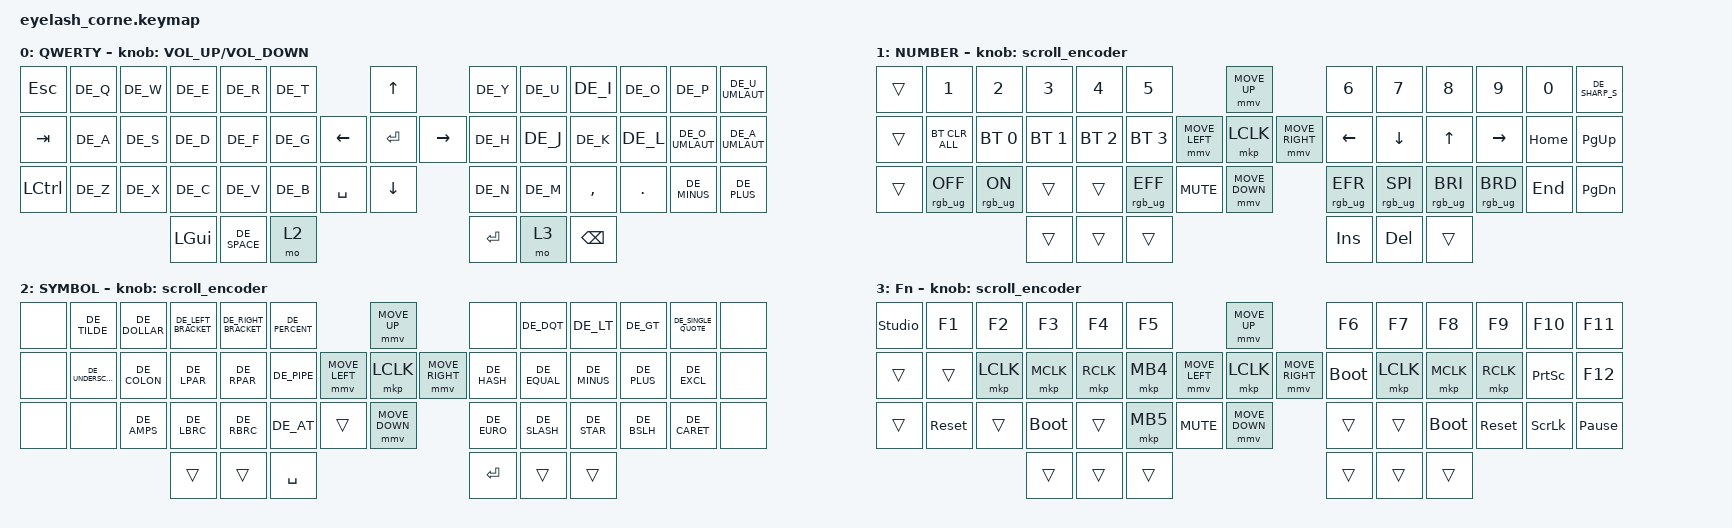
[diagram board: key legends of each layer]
#define ZMK_POINTING_DEFAULT_MOVE_VAL 1200  // 600
#define ZMK_POINTING_DEFAULT_SCRL_VAL 25   // 10

#include <input/processors.dtsi>
#include <zephyr/dt-bindings/input/input-event-codes.h>
#include <behaviors.dtsi>
#include <dt-bindings/zmk/bt.h>
#include <dt-bindings/zmk/keys.h>
#include <dt-bindings/zmk/outputs.h>
#include <dt-bindings/zmk/pointing.h>
#include <dt-bindings/zmk/rgb.h>
#include "keys_de.h"

&mmv_input_listener { input-processors = <&zip_xy_scaler 2 1>; };

&msc_input_listener { input-processors = <&zip_scroll_scaler 2 1>; };

&msc {
    acceleration-exponent = <1>;      // 0
    time-to-max-speed-ms = <100>;       // 300
    delay-ms = <0>;                   // 0
};

&mmv {
    time-to-max-speed-ms = <500>;
    acceleration-exponent = <1>;
    trigger-period-ms = <16>;
};

&soft_off { hold-time-ms = <2000>; };

/ {
    behaviors {
        td0: td0 {
            compatible = "zmk,behavior-tap-dance";
            display-name = "Shift/Caps Lock Tap Dance";
            #binding-cells = <0>;
            bindings = <&kp LEFT_SHIFT>, <&kp CAPS>;
        };
    };

    rgb_encoder: rgb_encoder {
        compatible = "zmk,behavior-sensor-rotate";
        #sensor-binding-cells = <0>;
        bindings = <&rgb_ug RGB_BRI>, <&rgb_ug RGB_BRD>;
    };

    scroll_encoder: scroll_encoder {
        compatible = "zmk,behavior-sensor-rotate";
        #sensor-binding-cells = <0>;
        bindings = <&msc SCRL_DOWN>, <&msc SCRL_UP>;

        tap-ms = <100>;
    };

    combos {
        compatible = "zmk,combos";

        softoff {
            bindings = <&soft_off>;
            key-positions = <1 15 29>;
        };
    };

    keymap {
        compatible = "zmk,keymap";

        default_layer {
            display-name = "QWERTY";
            bindings = <
&kp ESC         &kp DE_Q    &kp DE_W    &kp DE_E     &kp DE_R   &kp DE_T                      &kp UP                        &kp DE_Y     &kp DE_U    &kp DE_I      &kp DE_O    &kp DE_P             &kp DE_U_UMLAUT
&kp TAB         &kp DE_A    &kp DE_S    &kp DE_D     &kp DE_F   &kp DE_G            &kp LEFT  &kp ENTER  &kp RIGHT          &kp DE_H     &kp DE_J    &kp DE_K      &kp DE_L    &kp DE_O_UMLAUT      &kp DE_A_UMLAUT
&kp LCTRL       &kp DE_Z    &kp DE_X    &kp DE_C     &kp DE_V   &kp DE_B            &kp SPACE &kp DOWN                      &kp DE_N     &kp DE_M    &kp COMMA     &kp DOT     &kp DE_MINUS         &kp DE_PLUS
                                             &kp LGUI  &kp DE_SPACE  &mo 2                                                  &kp ENTER  &mo 3  &kp BSPC
            >;

            sensor-bindings = <&inc_dec_kp C_VOLUME_UP C_VOLUME_DOWN>;
        };

        lower_layer {
            display-name = "NUMBER";
            bindings = <
&trans  &kp N1           &kp N2          &kp N3        &kp N4        &kp N5                                         &mmv MOVE_UP                     &kp N6           &kp N7           &kp N8           &kp N9           &kp N0    &kp DE_SHARP_S
&trans  &bt BT_CLR_ALL   &bt BT_SEL 0    &bt BT_SEL 1  &bt BT_SEL 2  &bt BT_SEL 3                   &mmv MOVE_LEFT  &mkp LCLK       &mmv MOVE_RIGHT  &kp LEFT         &kp DOWN         &kp UP           &kp RIGHT        &kp HOME  &kp PG_UP
&trans  &rgb_ug RGB_OFF  &rgb_ug RGB_ON  &trans        &trans        &rgb_ug RGB_EFF  &kp C_MUTE                    &mmv MOVE_DOWN                   &rgb_ug RGB_EFR  &rgb_ug RGB_SPI  &rgb_ug RGB_BRI  &rgb_ug RGB_BRD  &kp END   &kp PG_DN
                                         &trans        &trans        &trans                                                                          &kp INS          &kp DEL          &trans
            >;

            sensor-bindings = <&scroll_encoder>;
        };

        raise_layer {
            display-name = "SYMBOL";
            bindings = <
&none  &kp DE_TILDE      &kp DE_DOLLAR        &kp DE_LEFT_BRACKET   &kp DE_RIGHT_BRACKET   &kp DE_PERCENT                            &mmv MOVE_UP                     &none  &kp DE_DQT   &kp DE_LT  &kp DE_GT  &kp DE_SINGLE_QUOTE  &none
&none  &kp DE_UNDERSCORE    &kp DE_COLON     &kp DE_LPAR  &kp DE_RPAR  &kp DE_PIPE             &mmv MOVE_LEFT  &mkp LCLK       &mmv MOVE_RIGHT  &kp DE_HASH  &kp DE_EQUAL  &kp DE_MINUS   &kp DE_PLUS  &kp DE_EXCL  &none
&none  &none  &kp DE_AMPS   &kp DE_LBRC      &kp DE_RBRC      &kp DE_AT   &trans                    &mmv MOVE_DOWN                   &kp DE_EURO  &kp DE_SLASH   &kp DE_STAR   &kp DE_BSLH  &kp DE_CARET  &none
                                    &trans     &trans     &kp SPACE                                                             &kp RET    &trans     &trans
            >;

            sensor-bindings = <&scroll_encoder>;
        };

        layer_3 {
            display-name = "Fn";
            bindings = <
&studio_unlock  &kp F1      &kp F2     &kp F3       &kp F4     &kp F5                                  &mmv MOVE_UP                     &kp F6       &kp F7     &kp F8       &kp F9      &kp F10          &kp F11
&trans          &trans      &mkp LCLK  &mkp MCLK    &mkp RCLK  &mkp MB4                &mmv MOVE_LEFT  &mkp LCLK       &mmv MOVE_RIGHT  &bootloader  &mkp LCLK  &mkp MCLK    &mkp RCLK   &kp PRINTSCREEN  &kp F12
&trans          &sys_reset  &trans     &bootloader  &trans     &mkp MB5  &kp C_MUTE                    &mmv MOVE_DOWN                   &trans       &trans     &bootloader  &sys_reset  &kp SCROLLLOCK   &kp PAUSE_BREAK
                                       &trans       &trans     &trans                                                                   &trans       &trans     &trans
            >;

            sensor-bindings = <&scroll_encoder>;
        };
    };
};
